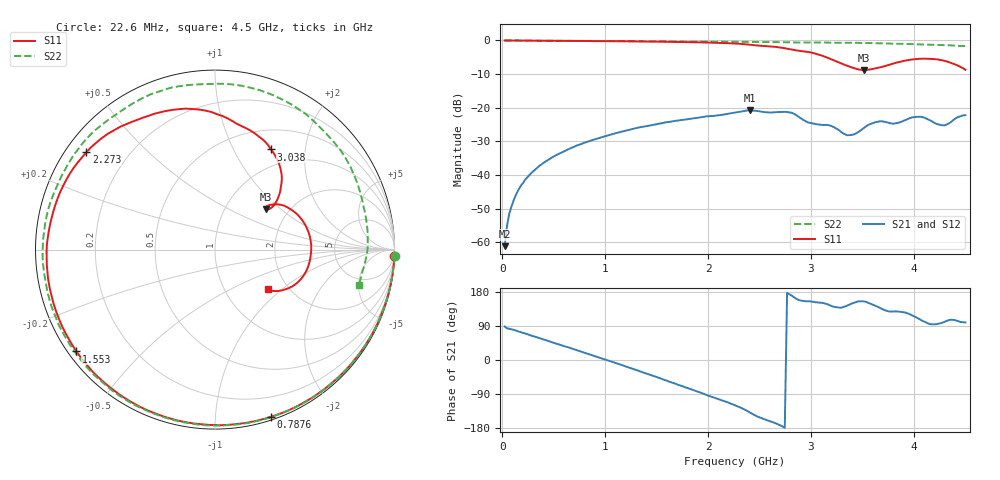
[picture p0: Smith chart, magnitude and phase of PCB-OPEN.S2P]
!Agilent Technologies,E5071C,MY46101151,A.11.34
!Date: Mon Sep 17 23:16:55 2018
!Data & Calibration Information:
!Freq	S11:SOLT2(ON)	S21:SOLT2(ON)	S12:SOLT2(ON)	S22:SOLT2(ON)
!PortZ  Port1:50+j0  Port2:50+j0
!Above PortZ is port z conversion or system Z0 setting when saving the data.
!When reading, reference impedance value at option line is always used.
# Hz S dB R 50
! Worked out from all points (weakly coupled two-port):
!   200 points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, 22.6 MHz to 4.5 GHz, reference 50 ohm
!   highest |S21| = -20.77 dB at 2.408 GHz (marker M1); lowest = -61.2 dB at 22.6 MHz (marker M2)
!   lowest |S11| = -8.8 dB at 3.51 GHz (marker M3), VSWR 2.15, Z = 77.2 + j40.3 ohm
!   |S11| at or under -10 dB: nowhere
!   |S22| runs from -1.7 to 0.0 dB; largest |S21 - S12| = 0.00039
!   S11 on the Smith chart (normalised r, x): 22.6 MHz: -1, -54; 787.6 MHz: 0.03, -1.39; 1.553 GHz: 0.02, -0.33; 2.273 GHz: 0.06, +0.33; 3.038 GHz: 0.75, +1.42; 4.5 GHz: 1.58, -0.81
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2.25995e7  0.00 -2.1  -61.16 88.5  -61.63 85.0  0.01 -2.0
4.5099e7  -0.00 -4.2  -55.29 83.7  -55.24 86.5  -0.00 -3.9
9.0098e7  -0.01 -8.3  -49.29 81.1  -49.22 81.2  -0.01 -7.8
2.25095e8  -0.04 -20.5  -41.27 69.8  -41.43 69.0  -0.04 -19.4
4.725895e8  -0.09 -42.8  -34.95 47.8  -34.98 47.8  -0.08 -40.5
7.875825e8  -0.16 -71.5  -30.53 20.0  -30.54 19.9  -0.13 -67.1
1.147574e9  -0.23 -105.0  -27.21 -12.0  -27.20 -12.2  -0.19 -97.1
1.530066e9  -0.36 -141.4  -24.70 -47.9  -24.72 -47.9  -0.26 -128.5
1.552566e9  -0.37 -143.7  -24.59 -50.0  -24.59 -50.1  -0.27 -130.4
1.935057e9  -0.57 178.3  -22.80 -86.9  -22.79 -87.0  -0.31 -161.4
2.27255e9  -0.93 142.9  -21.39 -120.7  -21.36 -120.7  -0.38 171.3
2.407546e9  -1.26 127.9  -20.77 -138.8  -20.75 -138.8  -0.44 160.4
2.70004e9  -2.09 96.8  -21.29 -172.3  -21.28 -172.4  -0.51 137.1
3.015033e9  -3.68 63.4  -24.64 153.8  -24.61 153.8  -0.57 112.3
3.037532e9  -3.88 60.8  -24.78 152.6  -24.78 152.6  -0.59 110.4
3.195029e9  -5.60 45.1  -25.40 142.9  -25.40 143.1  -0.66 97.4
3.352526e9  -7.53 37.4  -28.17 143.8  -28.15 143.7  -0.67 84.8
3.510022e9  -8.77 38.4  -26.10 154.9  -26.08 154.9  -0.73 71.5
3.757516e9  -7.25 35.5  -24.51 128.1  -24.49 128.2  -0.93 50.4
4.117508e9  -5.41 -0.3  -23.17 98.7  -23.16 98.6  -1.24 19.6
4.297504e9  -6.05 -21.1  -25.22 100.7  -25.21 100.9  -1.38 3.7
4.5e9  -8.71 -37.0  -22.21 99.0  -22.20 99.1  -1.67 -13.9
